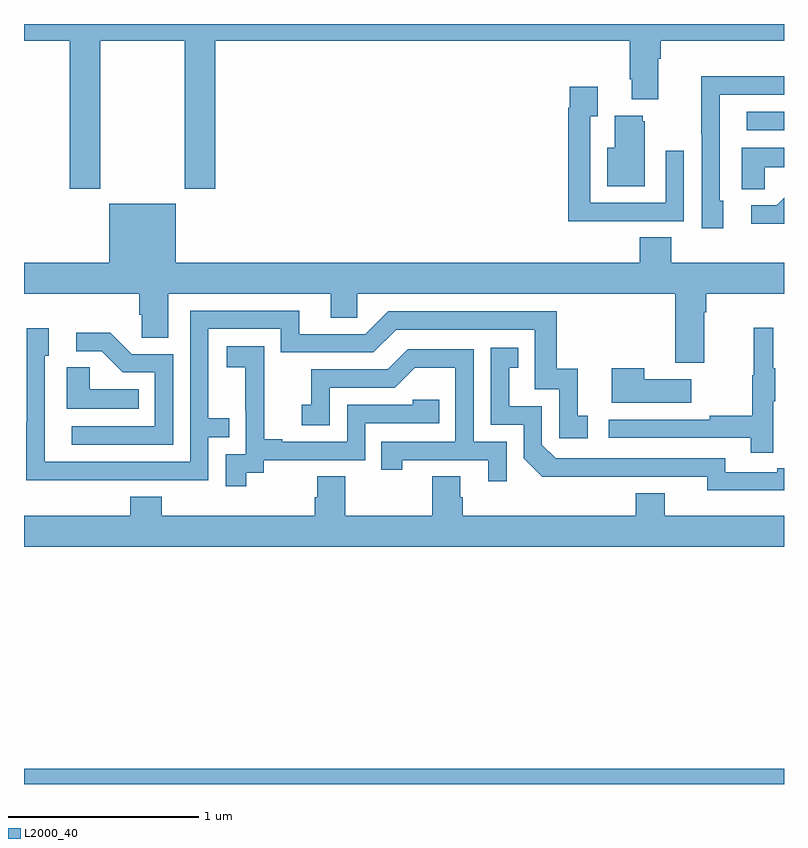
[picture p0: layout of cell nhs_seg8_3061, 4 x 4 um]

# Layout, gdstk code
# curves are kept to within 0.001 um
import gdstk
lib = gdstk.Library(unit=1e-6, precision=1e-09)
def R(c, l, rs):  # rectangles x0, y0, x1, y1
    for r in rs: c.add(gdstk.rectangle(r[:2], r[2:], *l))
def P(c, l, *ps):  # polygons
    for p in ps: c.add(gdstk.Polygon(p, *l))
L2000_40 = (2000, 40)

nhs_seg8_3061 = lib.new_cell('nhs_seg8_3061')
R(nhs_seg8_3061, L2000_40, [(301,1133.9,305,1133.98), (304.803,1137.342,305,1137.438)])
P(nhs_seg8_3061, L2000_40, [(301,1137.812),(301.241,1137.812),(301.241,1137.033),(301.401,1137.033),(301.401,1137.812),(301.846,1137.812),(301.846,1137.033),(302.006,1137.033),(302.006,1137.812),(304.187,1137.812),(304.187,1137.61),(304.199,1137.61),(304.199,1137.503),(304.339,1137.503),(304.339,1137.716),(304.352,1137.716),(304.352,1137.812),(305,1137.812),(305,1137.9),(301,1137.9)],
  [(304.681,1136.97),(304.662,1136.97),(304.662,1137.528),(305,1137.528),(305,1137.626),(304.564,1137.626),(304.564,1137.319),(304.566,1137.319),(304.566,1136.826),(304.681,1136.826)],
  [(304.157,1136.862),(304.473,1136.862),(304.473,1137.232),(304.377,1137.232),(304.377,1136.958),(303.981,1136.958),(303.981,1137.415),(304.021,1137.415),(304.021,1137.571),(303.873,1137.571),(303.873,1137.458),(303.865,1137.458),(303.865,1136.861),(304.157,1136.861)],
  [(304.267,1137.387),(304.256,1137.387),(304.256,1137.418),(304.109,1137.418),(304.109,1137.25),(304.07,1137.25),(304.07,1137.047),(304.267,1137.047)],
  [(304.899,1137.146),(305,1137.146),(305,1137.25),(304.778,1137.25),(304.778,1137.031),(304.899,1137.031)],
  [(305,1136.985),(304.961,1136.946),(304.827,1136.946),(304.827,1136.849),(305,1136.849)],
  [(304.579,1136.384),(304.592,1136.384),(304.592,1136.48),(305,1136.48),(305,1136.644),(304.406,1136.644),(304.406,1136.777),(304.241,1136.777),(304.241,1136.644),(301.798,1136.644),(301.798,1136.953),(301.448,1136.953),(301.448,1136.644),(301,1136.644),(301,1136.48),(301.607,1136.48),(301.607,1136.371),(301.62,1136.371),(301.62,1136.248),(301.759,1136.248),(301.759,1136.48),(302.615,1136.48),(302.615,1136.353),(302.754,1136.353),(302.754,1136.48),(304.427,1136.48),(304.427,1136.118),(304.579,1136.118)],
  [(301.475,1135.5),(301.971,1135.5),(301.971,1135.725),(302.081,1135.725),(302.081,1135.826),(301.971,1135.826),(301.971,1136.295),(302.352,1136.295),(302.352,1136.172),(302.838,1136.172),(302.958,1136.292),(303.687,1136.292),(303.687,1135.977),(303.816,1135.977),(303.816,1135.719),(303.967,1135.719),(303.967,1135.839),(303.914,1135.839),(303.914,1136.086),(303.803,1136.086),(303.803,1136.388),(302.916,1136.388),(302.796,1136.268),(302.449,1136.268),(302.449,1136.391),(301.875,1136.391),(301.875,1135.596),(301.11,1135.596),(301.11,1136.154),(301.129,1136.154),(301.129,1136.299),(301.014,1136.299),(301.014,1135.805),(301.012,1135.805),(301.012,1135.499)],
  [(304.943,1135.915),(304.954,1135.915),(304.954,1136.089),(304.943,1136.089),(304.943,1136.302),(304.84,1136.302),(304.84,1136.052),(304.833,1136.052),(304.833,1135.838),(304.609,1135.838),(304.609,1135.818),(304.077,1135.818),(304.077,1135.722),(304.825,1135.722),(304.825,1135.644),(304.943,1135.644)],
  [(301.785,1136.163),(301.566,1136.163),(301.453,1136.276),(301.275,1136.276),(301.275,1136.178),(301.409,1136.178),(301.52,1136.067),(301.689,1136.067),(301.689,1135.782),(301.251,1135.782),(301.251,1135.686),(301.785,1135.686)],
  [(302.17,1135.537),(302.262,1135.537),(302.262,1135.605),(302.796,1135.605),(302.796,1135.8),(303.185,1135.8),(303.185,1135.923),(303.045,1135.923),(303.045,1135.896),(302.7,1135.896),(302.7,1135.701),(302.359,1135.701),(302.359,1135.714),(302.264,1135.714),(302.264,1135.997),(302.265,1135.997),(302.265,1136.203),(302.067,1136.203),(302.067,1136.093),(302.165,1136.093),(302.165,1135.865),(302.166,1135.865),(302.166,1135.635),(302.061,1135.635),(302.061,1135.467),(302.17,1135.467)],
  [(304.964,1135.446),(305,1135.446),(305,1135.562),(304.964,1135.562),(304.964,1135.542),(304.692,1135.542),(304.692,1135.614),(303.798,1135.614),(303.726,1135.686),(303.726,1135.887),(303.553,1135.887),(303.553,1136.091),(303.602,1136.091),(303.602,1136.197),(303.456,1136.197),(303.456,1135.791),(303.63,1135.791),(303.63,1135.614),(303.728,1135.517),(304.596,1135.518),(304.596,1135.445)],
  [(303.54,1135.701),(303.366,1135.701),(303.366,1136.187),(303.02,1136.187),(302.915,1136.082),(302.512,1136.082),(302.512,1135.897),(302.463,1135.897),(302.463,1135.788),(302.61,1135.788),(302.61,1135.986),(302.952,1135.986),(303.056,1136.09),(303.27,1136.09),(303.27,1135.701),(302.881,1135.701),(302.881,1135.554),(302.992,1135.554),(302.992,1135.605),(303.443,1135.605),(303.443,1135.494),(303.54,1135.494)],
  [(301.604,1135.978),(301.347,1135.978),(301.347,1136.093),(301.226,1136.093),(301.226,1135.874),(301.604,1135.874)],
  [(304.513,1136.029),(304.265,1136.029),(304.265,1136.089),(304.094,1136.089),(304.094,1135.907),(304.513,1135.907)],
  [(305,1135.312),(304.372,1135.312),(304.372,1135.429),(304.22,1135.429),(304.22,1135.312),(303.308,1135.312),(303.308,1135.41),(303.295,1135.41),(303.295,1135.52),(303.148,1135.52),(303.148,1135.312),(302.691,1135.312),(302.691,1135.52),(302.543,1135.52),(302.543,1135.41),(302.531,1135.41),(302.531,1135.312),(301.724,1135.312),(301.724,1135.411),(301.559,1135.411),(301.559,1135.312),(301,1135.312),(301,1135.148),(305,1135.148)])

lib.write_gds('nhs_seg8_3061.gds')
